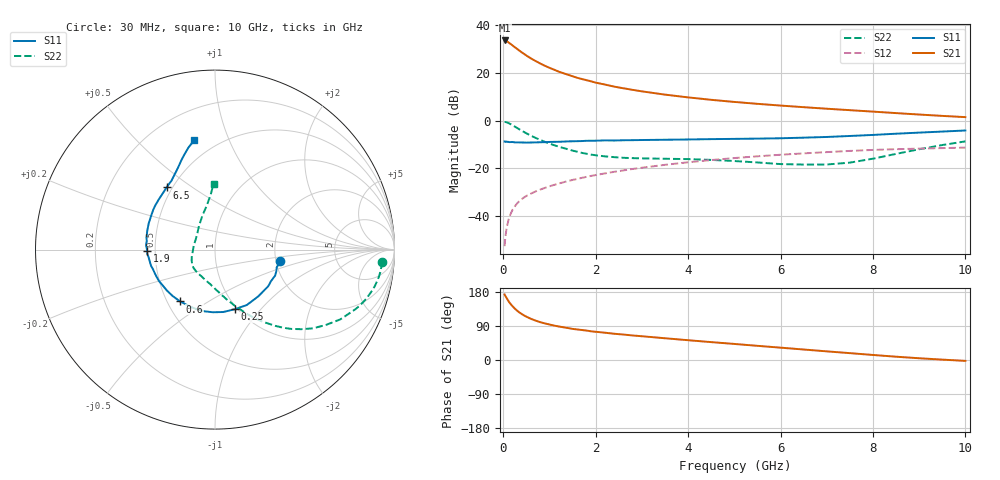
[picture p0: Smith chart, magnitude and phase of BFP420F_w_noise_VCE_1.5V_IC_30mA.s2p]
! Infineon Technologies  Discrete & RF Semiconductors
! BFP420F
! VCE =  1.5 V,  IC =  30 mA
! Common Emitter S-Parameters:  Sep 2011
# GHz  S  MA  R  50
!  f  S11  S21  S12  S22
! GHz  MAG  ANG  MAG  ANG  MAG  ANG  MAG  ANG
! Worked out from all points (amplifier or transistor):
!   54 points, 30 MHz to 10 GHz, reference 50 ohm
!   highest |S21| = 33.4 dB at 30 MHz (marker M1)
!   |S21| within 3 dB of that: start of sweep to 263.4 MHz
!   unconditionally stable (mu >= 1): 1.423 GHz to end of sweep
!   at 120 MHz: K = 0.34, MSG = 36.8 dB, |S12| = -41.0 dB
!   at 1.3 GHz: K = 0.98, MSG = 22.7 dB, |S12| = -25.8 dB
!   at 10 GHz: K = 1.22, MAG = 3.5 dB, |S12| = -11.3 dB
!   lowest NFmin = 1.81 dB at 450 MHz
!   S11 on the Smith chart (normalised r, x): 30 MHz: 2.10, -0.30; 250 MHz: 0.97, -0.74; 600 MHz: 0.58, -0.38; 1.9 GHz: 0.45, -0.01; 6.5 GHz: 0.47, +0.40; 10 GHz: 0.38, +0.75
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0.03  0.3658 -9.9  46.69 172.8  0.0024 88.3  0.9323 -4.2
0.08  0.3613 -26.1  44.39 162.0  0.006 84.3  0.9132 -12.9
0.12  0.3564 -38.5  42.19 154.2  0.0089 79.2  0.8792 -19.0
0.15  0.355 -47.1  40.06 149.3  0.0107 77.0  0.8501 -23.0
0.2  0.3561 -60.1  36.86 142.1  0.0137 74.2  0.7993 -29.1
0.25  0.35 -71.8  33.77 135.7  0.0162 71.7  0.7469 -34.2
0.35  0.3493 -91.8  28.66 125.5  0.0209 67.8  0.6539 -42.7
0.4  0.3488 -99.6  26.41 121.4  0.0229 66.6  0.6133 -46.1
0.5  0.3466 -113.0  22.71 114.4  0.0267 64.9  0.5413 -51.7
0.6  0.3481 -124.0  19.71 108.7  0.0299 64.0  0.4818 -56.5
0.8  0.352 -139.9  15.47 99.8  0.0363 63.4  0.3944 -64.1
1  0.3578 -150.7  12.57 93.7  0.0424 63.4  0.3314 -70.6
1.3  0.363 -162.8  9.687 86.4  0.0515 63.2  0.2671 -79.5
1.7  0.3732 -174.0  7.339 79.2  0.0637 62.6  0.2117 -91.5
1.9  0.379 -178.7  6.568 75.7  0.07 62.1  0.1948 -97.6
2.6  0.3879 170.0  4.704 67.2  0.0912 59.8  0.167 -116.6
3.5  0.3973 158.2  3.468 57.4  0.1192 55.4  0.1595 -133.1
5.5  0.4195 138.6  2.228 37.4  0.1793 42.9  0.1336 -164.9
6.5  0.4392 127.9  1.897 27.7  0.2065 36.0  0.1207 168.8
7  0.454 122.3  1.762 22.8  0.2195 32.5  0.121 153.4
8.5  0.5312 110.7  1.428 8.7  0.2524 21.1  0.2016 110.4
10  0.6197 100.8  1.177 -2.3  0.2725 11.9  0.3674 91.2
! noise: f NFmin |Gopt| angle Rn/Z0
0.45  1.81  0.29  -175  0.14
0.9  1.82  0.3  -173  0.14
1.9  1.95  0.35  -164  0.14
2.4  2.01  0.35  -158  0.12
3.5  2.25  0.35  -146  0.18
